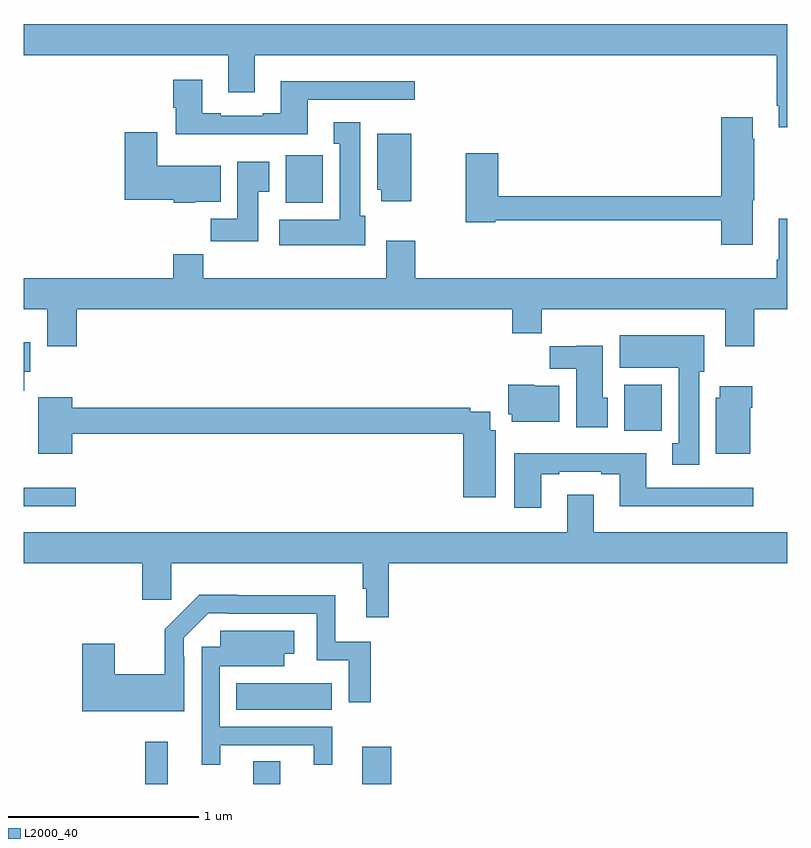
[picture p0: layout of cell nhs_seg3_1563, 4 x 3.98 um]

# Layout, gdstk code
import gdstk
lib = gdstk.Library(unit=1e-6, precision=1e-09)
def R(c, l, rs):  # rectangles x0, y0, x1, y1
    for r in rs: c.add(gdstk.rectangle(r[:2], r[2:], *l))
def P(c, l, *ps):  # polygons
    for p in ps: c.add(gdstk.Polygon(p, *l))
L2000_40 = (2000, 40)

nhs_seg3_1563 = lib.new_cell('nhs_seg3_1563')
R(nhs_seg3_1563, L2000_40, [(191.635,726.4,191.753,726.622), (192.203,726.4,192.343,726.518), (192.773,726.4,192.926,726.595), (192.112,726.788,192.613,726.928), (191,727.856,191.272,727.953), (194.147,728.252,194.344,728.494), (192.371,729.446,192.567,729.697)])
P(nhs_seg3_1563, L2000_40, [(191,730.22),(192.071,730.22),(192.071,730.026),(192.211,730.026),(192.211,730.22),(194.945,730.22),(194.945,729.955),(194.957,729.955),(194.957,729.843),(195,729.843),(195,730.384),(191,730.384)],
  [(192.487,729.987),(193.048,729.987),(193.048,730.084),(192.347,730.084),(192.347,729.916),(192.251,729.916),(192.251,729.903),(192.031,729.903),(192.031,729.916),(191.935,729.916),(191.935,730.093),(191.783,730.093),(191.783,729.945),(191.795,729.945),(191.795,729.806),(192.487,729.806)],
  [(194.821,729.459),(194.829,729.459),(194.829,729.782),(194.821,729.782),(194.821,729.895),(194.654,729.895),(194.654,729.482),(193.487,729.482),(193.487,729.706),(193.316,729.706),(193.316,729.346),(193.47,729.346),(193.47,729.354),(194.654,729.354),(194.654,729.228),(194.821,729.228)],
  [(192.79,729.378),(192.763,729.378),(192.763,729.868),(192.623,729.868),(192.623,729.755),(192.656,729.755),(192.656,729.358),(192.339,729.358),(192.339,729.224),(192.79,729.224)],
  [(191.898,729.452),(192.031,729.452),(192.031,729.64),(191.698,729.64),(191.698,729.817),(191.528,729.817),(191.528,729.464),(191.784,729.464),(191.784,729.446),(191.898,729.446)],
  [(193.03,729.808),(192.851,729.808),(192.851,729.516),(192.872,729.516),(192.872,729.456),(193.03,729.456)],
  [(192.229,729.505),(192.286,729.505),(192.286,729.661),(192.119,729.661),(192.119,729.364),(191.98,729.364),(191.98,729.246),(192.229,729.246)],
  [(191.276,728.888),(193.559,728.888),(193.559,728.764),(193.715,728.764),(193.715,728.888),(194.675,728.888),(194.675,728.694),(194.828,728.694),(194.828,728.888),(195,728.888),(195,729.364),(194.957,729.364),(194.957,729.148),(194.945,729.148),(194.945,729.052),(193.052,729.052),(193.052,729.247),(192.899,729.247),(192.899,729.052),(191.939,729.052),(191.939,729.176),(191.783,729.176),(191.783,729.052),(191,729.052),(191,728.888),(191.123,728.888),(191.123,728.694),(191.276,728.694)],
  [(194.539,728.562),(194.566,728.562),(194.566,728.752),(194.123,728.752),(194.123,728.582),(194.432,728.582),(194.432,728.186),(194.399,728.186),(194.399,728.073),(194.539,728.073)],
  [(191.002,728.562),(191.032,728.562),(191.032,728.716),(191,728.716),(191,728.462),(191.002,728.462)],
  [(194.059,728.424),(194.035,728.424),(194.035,728.698),(193.899,728.698),(193.899,728.694),(193.756,728.694),(193.756,728.576),(193.895,728.576),(193.895,728.27),(194.059,728.27)],
  [(193.807,728.488),(193.674,728.488),(193.674,728.494),(193.538,728.494),(193.538,728.337),(193.556,728.337),(193.556,728.3),(193.807,728.3)],
  [(194.806,728.372),(194.819,728.372),(194.819,728.485),(194.648,728.485),(194.648,728.424),(194.627,728.424),(194.627,728.132),(194.806,728.132)],
  [(193.474,728.254),(193.444,728.254),(193.444,728.352),(193.34,728.352),(193.34,728.372),(191.254,728.372),(191.254,728.428),(191.075,728.428),(191.075,728.132),(191.254,728.132),(191.254,728.236),(193.304,728.236),(193.304,727.902),(193.474,727.902)],
  [(193.711,728.025),(193.807,728.025),(193.807,728.037),(194.027,728.037),(194.027,728.025),(194.123,728.025),(194.123,727.856),(194.824,727.856),(194.824,727.953),(194.263,727.953),(194.263,728.134),(193.571,728.134),(193.571,727.848),(193.711,727.848)],
  [(192.911,727.556),(195,727.556),(195,727.72),(193.987,727.72),(193.987,727.915),(193.847,727.915),(193.847,727.72),(191,727.72),(191,727.556),(191.621,727.556),(191.621,727.365),(191.771,727.365),(191.771,727.556),(192.775,727.556),(192.775,727.424),(192.794,727.424),(192.794,727.275),(192.911,727.275)],
  [(191.841,727.067),(191.838,727.067),(191.838,727.167),(191.967,727.296),(192.067,727.296),(192.067,727.293),(192.534,727.293),(192.534,727.05),(192.702,727.05),(192.702,726.828),(192.818,726.828),(192.818,727.146),(192.631,727.146),(192.631,727.39),(192.119,727.39),(192.119,727.393),(191.92,727.393),(191.738,727.21),(191.738,726.976),(191.476,726.976),(191.476,727.135),(191.306,727.135),(191.306,726.782),(191.841,726.782)],
  [(192.028,726.603),(192.518,726.603),(192.518,726.501),(192.616,726.501),(192.616,726.699),(192.027,726.699),(192.027,727.016),(192.364,727.016),(192.364,727.082),(192.418,727.082),(192.418,727.204),(192.03,727.204),(192.03,727.119),(191.931,727.119),(191.931,726.501),(192.028,726.501)])

lib.write_gds('nhs_seg3_1563.gds')
